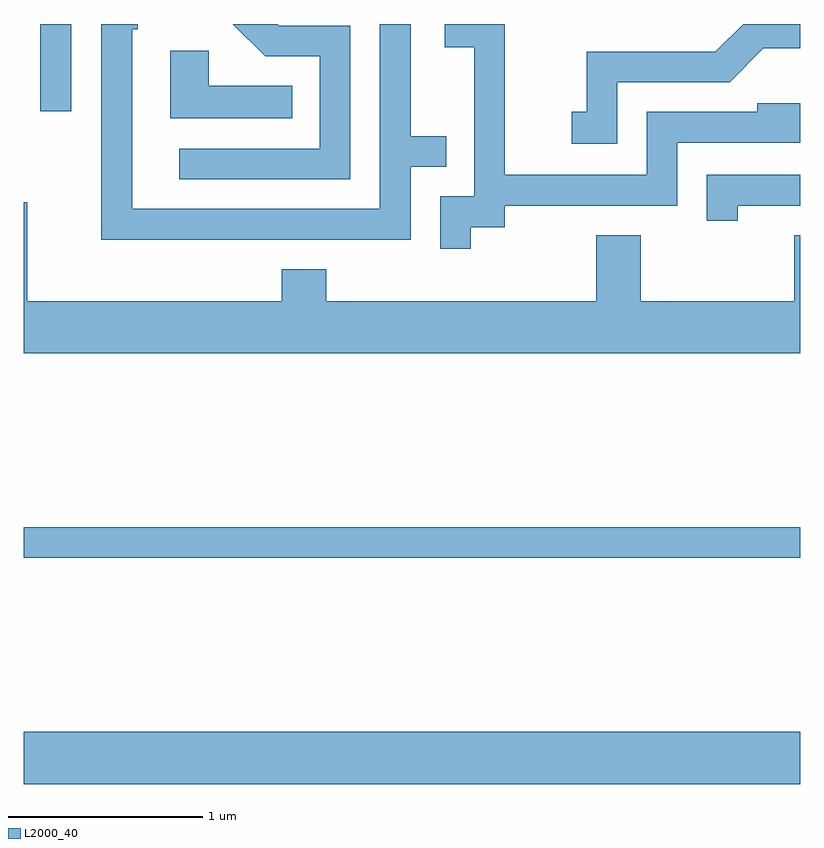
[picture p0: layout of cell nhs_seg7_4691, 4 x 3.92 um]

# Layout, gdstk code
import gdstk
lib = gdstk.Library(unit=1e-6, precision=1e-09)
def R(c, l, rs):  # rectangles x0, y0, x1, y1
    for r in rs: c.add(gdstk.rectangle(r[:2], r[2:], *l))
def P(c, l, *ps):  # polygons
    for p in ps: c.add(gdstk.Polygon(p, *l))
L2000_40 = (2000, 40)

nhs_seg7_4691 = lib.new_cell('nhs_seg7_4691')
R(nhs_seg7_4691, L2000_40, [(329.611,1694.336,333.611,1694.604), (329.611,1695.501,333.611,1695.659)])
P(nhs_seg7_4691, L2000_40, [(331.914,1697.206),(332.089,1697.206),(332.089,1697.316),(332.979,1697.316),(332.979,1697.641),(333.611,1697.641),(333.611,1697.844),(333.391,1697.844),(333.391,1697.799),(332.821,1697.799),(332.821,1697.474),(332.089,1697.474),(332.089,1698.252),(331.781,1698.252),(331.781,1698.131),(331.931,1698.131),(331.931,1697.364),(331.756,1697.364),(331.756,1697.093),(331.914,1697.093)],
  [(332.669,1697.951),(333.247,1697.951),(333.422,1698.126),(333.611,1698.126),(333.611,1698.252),(333.317,1698.252),(333.174,1698.109),(332.511,1698.109),(332.511,1697.799),(332.433,1697.799),(332.433,1697.636),(332.669,1697.636)],
  [(331.604,1697.516),(331.788,1697.516),(331.788,1697.674),(331.604,1697.674),(331.604,1698.252),(331.446,1698.252),(331.446,1697.299),(330.169,1697.299),(330.169,1698.226),(330.199,1698.226),(330.199,1698.252),(330.011,1698.252),(330.011,1697.141),(331.604,1697.141)],
  [(331.294,1698.244),(330.927,1698.244),(330.919,1698.252),(330.688,1698.252),(330.854,1698.086),(331.136,1698.086),(331.136,1697.609),(330.413,1697.609),(330.413,1697.451),(331.294,1697.451)],
  [(329.854,1698.252),(329.611,1698.252),(329.611,1698.251),(329.696,1698.251),(329.696,1697.803),(329.854,1697.803)],
  [(330.993,1697.934),(330.564,1697.934),(330.564,1698.114),(330.366,1698.114),(330.366,1697.766),(330.993,1697.766)],
  [(333.289,1697.316),(333.611,1697.316),(333.611,1697.474),(333.131,1697.474),(333.131,1697.238),(333.289,1697.238)],
  [(333.611,1697.164),(333.581,1697.164),(333.581,1696.824),(332.789,1696.824),(332.789,1697.164),(332.561,1697.164),(332.561,1696.824),(331.169,1696.824),(331.169,1696.989),(330.941,1696.989),(330.941,1696.824),(329.629,1696.824),(329.629,1697.334),(329.611,1697.334),(329.611,1696.556),(333.611,1696.556)])

lib.write_gds('nhs_seg7_4691.gds')
